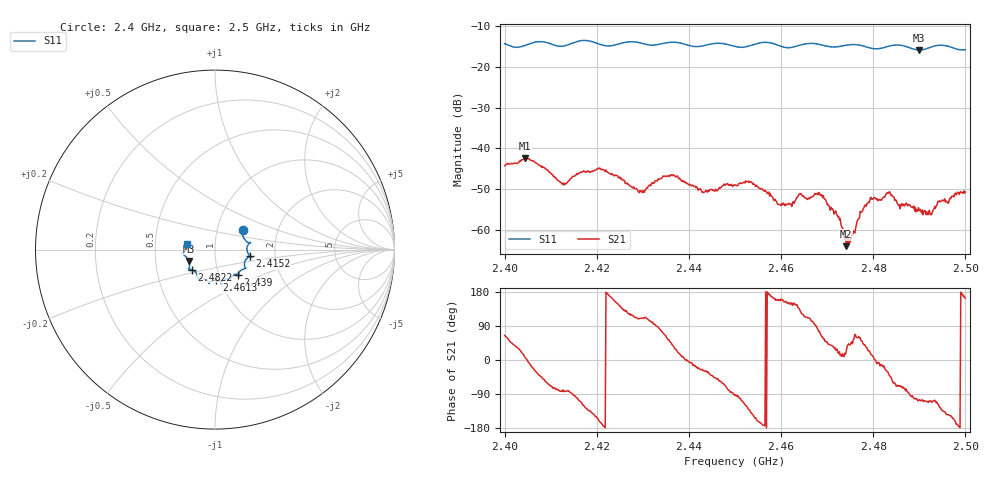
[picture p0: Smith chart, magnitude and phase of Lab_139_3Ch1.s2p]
# Hz S RI R 50
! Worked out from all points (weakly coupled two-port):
!   601 points, 2.4 GHz to 2.5 GHz, reference 50 ohm
!   highest |S21| = -42.43 dB at 2.4045 GHz (marker M1); lowest = -63.9 dB at 2.4742 GHz (marker M2)
!   lowest |S11| = -15.9 dB at 2.49 GHz (marker M3), VSWR 1.38, Z = 36.9 - j4.81 ohm
!   |S11| at or under -10 dB: start of sweep to end of sweep
!   S12 and S22 are empty: the file has one direction only
!   S11 on the Smith chart (normalised r, x): 2.4 GHz: 1.33, +0.31; 2.4152 GHz: 1.48, -0.11; 2.439 GHz: 1.24, -0.36; 2.4613 GHz: 0.96, -0.34; 2.4822 GHz: 0.76, -0.17; 2.5 GHz: 0.73, +0.05
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2.4e9  0.1556 0.1115  0.0026 0.00555  0 0  0 0
2.4045e9  0.177 0.0435  0.00752 0.000773  0 0  0 0
2.412667e9  0.1783 -0.00468  0.000735 -0.00368  0 0  0 0
2.415167e9  0.1951 -0.0365  -0.000263 -0.00456  0 0  0 0
2.416667e9  0.2043 -0.0423  -0.00189 -0.00472  0 0  0 0
2.421e9  0.1789 -0.0484  -0.00536 -0.00127  0 0  0 0
2.4295e9  0.1635 -0.1072  -0.00104 0.00284  0 0  0 0
2.433333e9  0.1321 -0.1323  0.000251 0.00424  0 0  0 0
2.439e9  0.1284 -0.1388  0.00381 0.000237  0 0  0 0
2.443333e9  0.0887 -0.1582  0.00254 -0.00143  0 0  0 0
2.45e9  0.0686 -0.1632  -0.000252 -0.00356  0 0  0 0
2.453167e9  0.0378 -0.1762  -0.00256 -0.00283  0 0  0 0
2.461333e9  0.00759 -0.1708  -0.00182 0.000972  0 0  0 0
2.466667e9  -0.0332 -0.19  -0.000521 0.00247  0 0  0 0
2.469333e9  -0.0376 -0.1774  0.00135 0.00203  0 0  0 0
2.472333e9  -0.0696 -0.161  0.00137 0.000482  0 0  0 0
2.474167e9  -0.0874 -0.1614  0.000579 0.00026  0 0  0 0
2.479167e9  -0.1017 -0.1365  0.002 0.000878  0 0  0 0
2.482167e9  -0.1285 -0.112  0.00237 -0.000766  0 0  0 0
2.483333e9  -0.1397 -0.1103  0.00229 -0.00169  0 0  0 0
2.49e9  -0.1468 -0.0634  -0.000441 -0.00166  0 0  0 0
2.5e9  -0.1583 0.0335  -0.0028 0.00086  0 0  0 0
